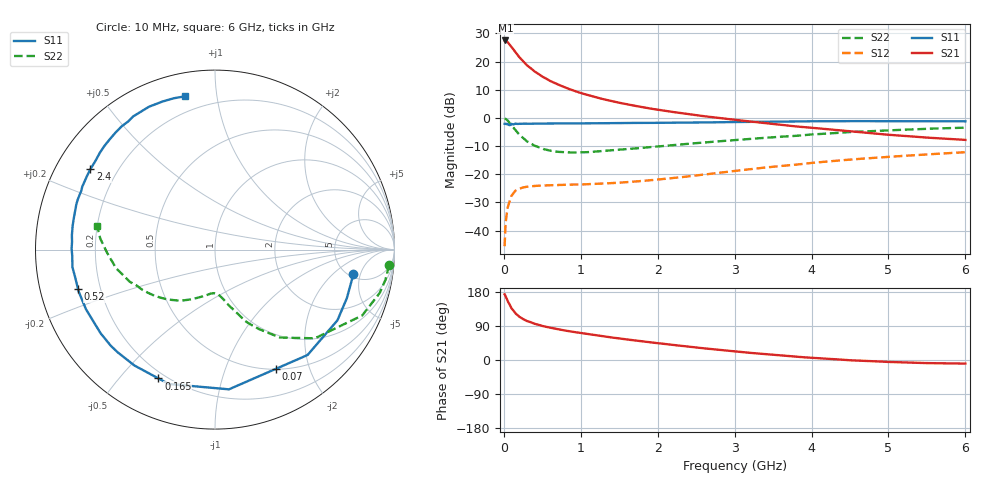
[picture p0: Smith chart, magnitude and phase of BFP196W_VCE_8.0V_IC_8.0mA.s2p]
! Infineon Technologies  Discrete & RF Semiconductors
! BFP196W
! VCE = 8.0 V,  IC = 8.0mA
! Common Emitter S-Parameters:  Jan 2016
# GHz  S  MA  R  50
!  f  S11  S21  S12  S22
! GHz  MAG  ANG  MAG  ANG  MAG  ANG  MAG  ANG
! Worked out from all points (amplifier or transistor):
!   210 points, 10 MHz to 6 GHz, reference 50 ohm
!   highest |S21| = 27.5 dB at 20 MHz (marker M1)
!   |S21| within 3 dB of that: start of sweep to 119.3 MHz
!   unconditionally stable (mu >= 1): 1.296 GHz to 3.362 GHz
!   at 185 MHz: K = 0.18, MSG = 23.7 dB, |S12| = -25.3 dB
!   at 1.52 GHz: K = 1.10, MAG = 12.1 dB, |S12| = -23.0 dB
!   at 6 GHz: K = 0.94, MSG = 2.2 dB, |S12| = -12.2 dB
!   S11 on the Smith chart (normalised r, x): 10 MHz: 5.46, -3.85; 70 MHz: 0.51, -1.52; 165 MHz: 0.17, -0.64; 520 MHz: 0.12, -0.14; 2.4 GHz: 0.10, +0.29; 6 GHz: 0.12, +0.82
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0.01  0.7835 -10.0  23.46 173.2  0.0053 82.8  0.974 -5.1
0.02  0.7829 -20.3  23.64 169.6  0.0112 80.3  0.9643 -10.1
0.03  0.7878 -30.0  23.25 164.7  0.0163 76.1  0.9488 -14.8
0.05  0.7816 -48.7  22.14 155.0  0.0257 67.3  0.8984 -24.1
0.07  0.746 -62.8  20.3 148.4  0.0317 58.6  0.8278 -30.3
0.1  0.7824 -84.3  18.15 136.3  0.0416 50.5  0.7442 -41.6
0.15  0.7918 -109.0  14.74 123.1  0.0512 39.6  0.6095 -53.5
0.165  0.7839 -113.7  13.89 120.8  0.0524 37.5  0.5777 -55.5
0.2  0.7864 -124.8  11.99 114.3  0.0554 32.9  0.5066 -61.0
0.26  0.79 -137.3  9.794 107.0  0.0587 28.1  0.4286 -67.3
0.3  0.7896 -143.8  8.597 102.9  0.0601 26.0  0.3838 -70.1
0.4  0.792 -155.2  6.654 95.5  0.0621 22.5  0.3209 -76.0
0.52  0.7939 -164.0  5.237 89.0  0.0632 21.1  0.2792 -80.6
0.7  0.8004 -173.0  3.933 81.3  0.0644 21.3  0.2503 -85.9
1.02  0.7982 176.4  2.709 70.6  0.066 24.1  0.2449 -94.4
1.42  0.8066 166.5  1.961 59.0  0.0699 29.9  0.2662 -103.6
2.02  0.8186 154.3  1.384 44.0  0.081 39.5  0.3126 -117.0
2.4  0.8262 147.1  1.164 35.2  0.0917 43.7  0.3476 -125.2
3.1  0.8468 135.1  0.893 20.9  0.1187 47.2  0.414 -140.6
4.1  0.8712 120.2  0.65 4.6  0.1635 44.8  0.5167 -161.5
5.1  0.8746 108.7  0.491 -5.7  0.208 38.1  0.6088 -179.8
6  0.8701 101.0  0.407 -9.5  0.2461 31.5  0.6708 168.5
